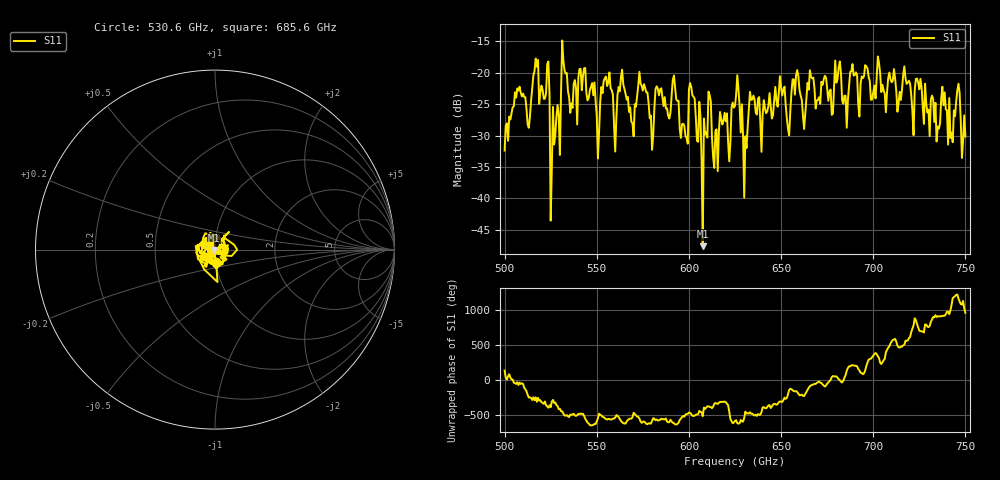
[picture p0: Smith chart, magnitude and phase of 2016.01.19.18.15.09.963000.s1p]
!Created with skrf (http://scikit-rf.org).
# GHz S RI R 50.0
!freq ReS11 ImS11
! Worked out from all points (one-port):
!   401 points, 500 GHz to 750 GHz, reference 50 ohm
!   lowest |S11| = -47.6 dB at 607.5 GHz (marker M1), VSWR 1.01, Z = 49.6 - j0.178 ohm
!   |S11| at or under -10 dB: start of sweep to end of sweep
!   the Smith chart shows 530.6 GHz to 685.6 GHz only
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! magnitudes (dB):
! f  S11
! 500 GHz  -32.4
! 506.9 GHz  -22.5
! 513.1 GHz  -28.8
! 516.9 GHz  -17.7
! 523.1 GHz  -18.6
! 526.2 GHz  -25.4
! 531.2 GHz  -14.8
! 542.5 GHz  -20.5
! 550.6 GHz  -33.6
! 562.5 GHz  -22.9
! 568.8 GHz  -27.8
! 573.8 GHz  -21.7
! 580 GHz  -32.3
! 583.1 GHz  -22.5
! 593.8 GHz  -24.5
! 598.1 GHz  -30.1
! 601.9 GHz  -23.5
! 607.5 GHz  -47.6
! 610.6 GHz  -23.0
! 614.4 GHz  -29.3
! 625 GHz  -25.3
! 630.6 GHz  -30.1
! 634.4 GHz  -24.3
! 656.2 GHz  -21.1
! 687.5 GHz  -19.9
! 718.8 GHz  -21.6
! 745.6 GHz  -22.8
! 750 GHz  -30.2
